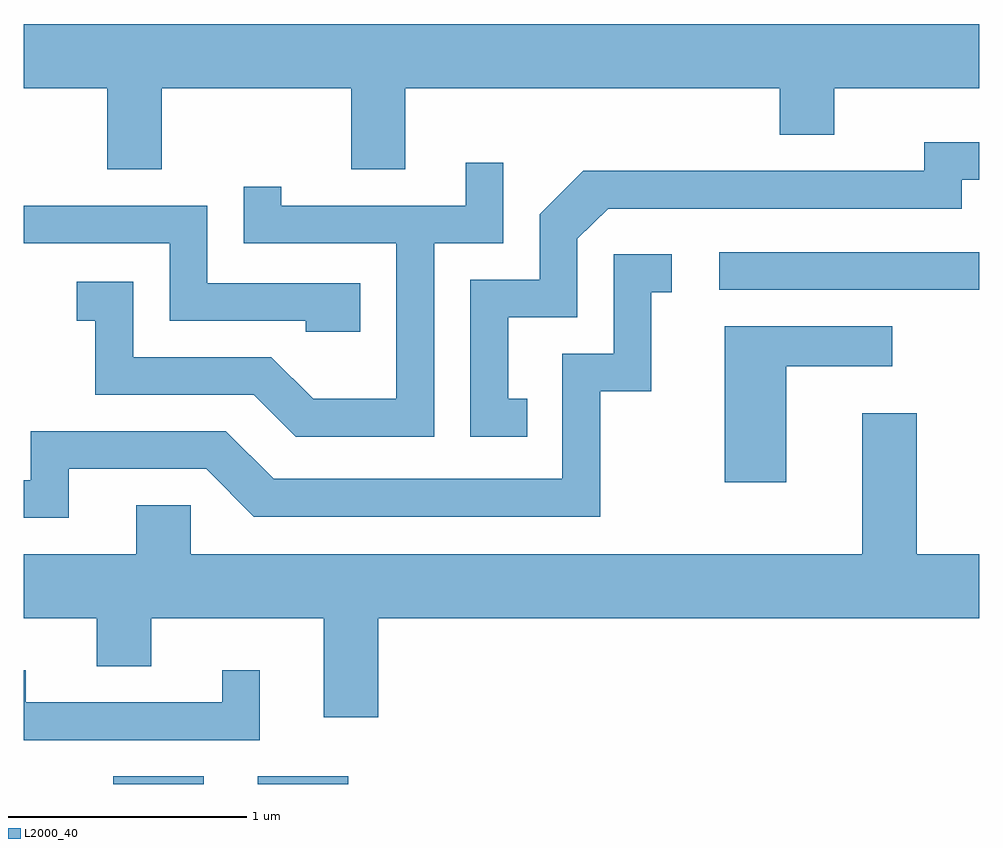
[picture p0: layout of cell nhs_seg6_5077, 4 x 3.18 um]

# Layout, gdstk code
import gdstk
lib = gdstk.Library(unit=1e-6, precision=1e-09)
def R(c, l, rs):  # rectangles x0, y0, x1, y1
    for r in rs: c.add(gdstk.rectangle(r[:2], r[2:], *l))
def P(c, l, *ps):  # polygons
    for p in ps: c.add(gdstk.Polygon(p, *l))
L2000_40 = (2000, 40)

nhs_seg6_5077 = lib.new_cell('nhs_seg6_5077')
R(nhs_seg6_5077, L2000_40, [(339.986,1618.162,340.364,1618.194), (340.591,1618.162,340.969,1618.194), (342.523,1620.231,343.611,1620.389)])
P(nhs_seg6_5077, L2000_40, [(340.189,1621.076),(340.981,1621.076),(340.981,1620.736),(341.209,1620.736),(341.209,1621.076),(342.776,1621.076),(342.776,1620.881),(343.004,1620.881),(343.004,1621.076),(343.611,1621.076),(343.611,1621.344),(339.611,1621.344),(339.611,1621.076),(339.961,1621.076),(339.961,1620.736),(340.189,1620.736)],
  [(341.718,1619.774),(341.639,1619.774),(341.639,1620.116),(341.929,1620.116),(341.929,1620.444),(342.057,1620.571),(343.539,1620.571),(343.539,1620.691),(343.611,1620.691),(343.611,1620.849),(343.381,1620.849),(343.381,1620.729),(341.954,1620.729),(341.771,1620.547),(341.771,1620.274),(341.481,1620.274),(341.481,1619.616),(341.718,1619.616)],
  [(341.329,1620.426),(341.619,1620.426),(341.619,1620.763),(341.461,1620.763),(341.461,1620.584),(340.689,1620.584),(340.689,1620.663),(340.531,1620.663),(340.531,1620.426),(341.171,1620.426),(341.171,1619.774),(340.822,1619.774),(340.647,1619.949),(340.069,1619.949),(340.069,1620.264),(339.833,1620.264),(339.833,1620.101),(339.911,1620.101),(339.911,1619.791),(340.574,1619.791),(340.749,1619.616),(341.329,1619.616)],
  [(341.019,1620.259),(340.379,1620.259),(340.379,1620.584),(339.611,1620.584),(339.611,1620.426),(340.221,1620.426),(340.221,1620.101),(340.791,1620.101),(340.791,1620.056),(341.019,1620.056)],
  [(339.799,1619.481),(340.374,1619.481),(340.574,1619.281),(342.024,1619.281),(342.024,1619.806),(342.239,1619.806),(342.239,1620.221),(342.323,1620.221),(342.323,1620.379),(342.081,1620.379),(342.081,1619.964),(341.866,1619.964),(341.866,1619.439),(340.657,1619.439),(340.457,1619.639),(339.641,1619.639),(339.641,1619.434),(339.611,1619.434),(339.611,1619.276),(339.799,1619.276)],
  [(342.804,1619.911),(343.248,1619.911),(343.248,1620.079),(342.546,1620.079),(342.546,1619.426),(342.804,1619.426)],
  [(340.144,1618.856),(340.866,1618.856),(340.866,1618.441),(341.094,1618.441),(341.094,1618.856),(343.611,1618.856),(343.611,1619.124),(343.349,1619.124),(343.349,1619.714),(343.121,1619.714),(343.121,1619.124),(340.309,1619.124),(340.309,1619.329),(340.081,1619.329),(340.081,1619.124),(339.611,1619.124),(339.611,1618.856),(339.916,1618.856),(339.916,1618.656),(340.144,1618.656)],
  [(340.599,1618.638),(340.441,1618.638),(340.441,1618.504),(339.619,1618.504),(339.619,1618.638),(339.611,1618.638),(339.611,1618.346),(340.599,1618.346)])

lib.write_gds('nhs_seg6_5077.gds')
